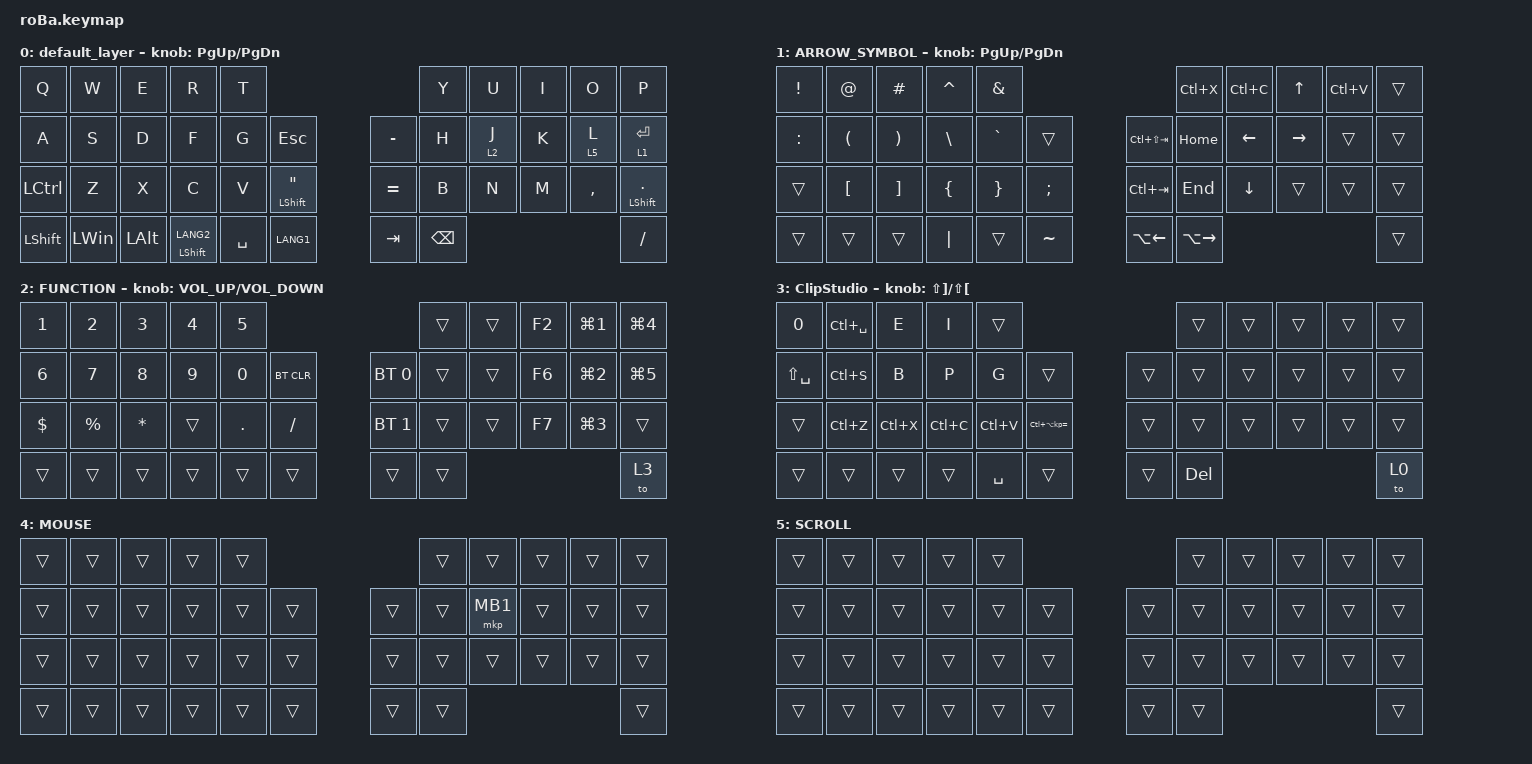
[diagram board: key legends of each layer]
#include <behaviors.dtsi>
#include <dt-bindings/zmk/bt.h>
#include <dt-bindings/zmk/keys.h>
#include <dt-bindings/zmk/pointing.h>

&mt {
    flavor = "balanced";
    quick-tap-ms = <0>;
};

/ {
    combos {
        compatible = "zmk,combos";

        escape {
            bindings = <&kp ESCAPE>;
            key-positions = <0 1>;
        };

        tabcombo {
            bindings = <&kp TAB>;
            key-positions = <11 12>;
        };

        slash {
            bindings = <&kp SLASH>;
            key-positions = <18 19>;
        };

        single_quotes {
            bindings = <&kp SINGLE_QUOTE>;
            key-positions = <27 26>;
        };
    };

    macros {
        to_layer_0: to_layer_0 {
            compatible = "zmk,behavior-macro-one-param";
            #binding-cells = <1>;
            bindings = <&to 0 &macro_param_1to1 &kp MACRO_PLACEHOLDER>;
            label = "TO_LAYER_0";
        };
    };

    behaviors {
        lt_to_layer_0: lt_to_layer_0 {
            compatible = "zmk,behavior-hold-tap";
            label = "LAYER_TAP_TO_0";
            bindings = <&mo>, <&to_layer_0>;

            #binding-cells = <2>;
            tapping-term-ms = <200>;
        };
    };

    keymap {
        compatible = "zmk,keymap";

        default_layer {
            bindings = <
&kp Q           &kp W         &kp E         &kp R                 &kp T                                                   &kp Y          &kp U    &kp I  &kp O      &kp P
&kp A           &kp S         &kp D         &kp F                 &kp G      &kp ESCAPE                        &kp MINUS  &kp H          &lt 2 J  &kp K  &lt 5 L    &lt 1 RETURN
&kp LCTRL       &kp Z         &kp X         &kp C                 &kp V      &mt LEFT_SHIFT DOUBLE_QUOTES      &kp EQUAL  &kp B          &kp N    &kp M  &kp COMMA  &mt LEFT_SHIFT PERIOD
&kp LEFT_SHIFT  &kp LEFT_WIN  &kp LEFT_ALT  &mt LEFT_SHIFT LANG2  &kp SPACE  &kp LANG1                         &kp TAB    &kp BACKSPACE                             &kp SLASH
            >;

            sensor-bindings = <&inc_dec_kp PAGE_UP PAGE_DOWN>;
        };

        ARROW_SYMBOL {
            bindings = <
&kp EXCL   &kp AT_SIGN           &kp HASH               &kp CARET       &kp AMPERSAND                                       &kp LC(X)            &kp LC(C)       &kp UP_ARROW     &kp LC(V)  &trans
&kp COLON  &kp LEFT_PARENTHESIS  &kp RIGHT_PARENTHESIS  &kp BACKSLASH   &kp GRAVE        &trans         &kp LC(LS(TAB))     &kp HOME             &kp LEFT        &kp RIGHT_ARROW  &trans     &trans
&trans     &kp LEFT_BRACKET      &kp RIGHT_BRACKET      &kp LEFT_BRACE  &kp RIGHT_BRACE  &kp SEMI       &kp LC(TAB)         &kp END              &kp DOWN_ARROW  &trans           &trans     &trans
&trans     &trans                &trans                 &kp PIPE        &trans           &kp TILDE      &kp LA(LEFT_ARROW)  &kp LA(RIGHT_ARROW)                                              &trans
            >;

            sensor-bindings = <&inc_dec_kp PAGE_UP PAGE_DOWN>;
        };

        FUNCTION {
            bindings = <
&kp N1      &kp N2       &kp N3     &kp N4  &kp N5                                 &trans  &trans  &kp F2  &kp LG(NUMBER_1)  &kp LG(NUMBER_4)
&kp N6      &kp N7       &kp N8     &kp N9  &kp N0   &bt BT_CLR      &bt BT_SEL 0  &trans  &trans  &kp F6  &kp LG(NUMBER_2)  &kp LG(N5)
&kp DOLLAR  &kp PERCENT  &kp ASTRK  &trans  &kp DOT  &kp SLASH       &bt BT_SEL 1  &trans  &trans  &kp F7  &kp LG(NUMBER_3)  &trans
&trans      &trans       &trans     &trans  &trans   &trans          &trans        &trans                                    &to 3
            >;

            sensor-bindings = <&inc_dec_kp C_VOLUME_UP C_VOLUME_DOWN>;
        };

        ClipStudio {
            bindings = <
&kp N0         &kp LC(SPACE)  &kp E      &kp I      &trans                                       &trans      &trans  &trans  &trans  &trans
&kp LS(SPACE)  &kp LC(S)      &kp B      &kp P      &kp G      &trans                    &trans  &trans      &trans  &trans  &trans  &trans
&trans         &kp LC(Z)      &kp LC(X)  &kp LC(C)  &kp LC(V)  &kp LC(LA(KP_EQUAL))      &trans  &trans      &trans  &trans  &trans  &trans
&trans         &trans         &trans     &trans     &kp SPACE  &trans                    &trans  &kp DELETE                          &to 0
            >;

            sensor-bindings = <&inc_dec_kp LS(RBKT) LS(LEFT_BRACKET)>;
        };

        MOUSE {
            bindings = <
&trans  &trans  &trans  &trans  &trans                      &trans  &trans    &trans  &trans  &trans
&trans  &trans  &trans  &trans  &trans  &trans      &trans  &trans  &mkp MB1  &trans  &trans  &trans
&trans  &trans  &trans  &trans  &trans  &trans      &trans  &trans  &trans    &trans  &trans  &trans
&trans  &trans  &trans  &trans  &trans  &trans      &trans  &trans                            &trans
            >;
        };

        SCROLL {
            bindings = <
&trans  &trans  &trans  &trans  &trans                      &trans  &trans  &trans  &trans  &trans
&trans  &trans  &trans  &trans  &trans  &trans      &trans  &trans  &trans  &trans  &trans  &trans
&trans  &trans  &trans  &trans  &trans  &trans      &trans  &trans  &trans  &trans  &trans  &trans
&trans  &trans  &trans  &trans  &trans  &trans      &trans  &trans                          &trans
            >;
        };
    };
};
